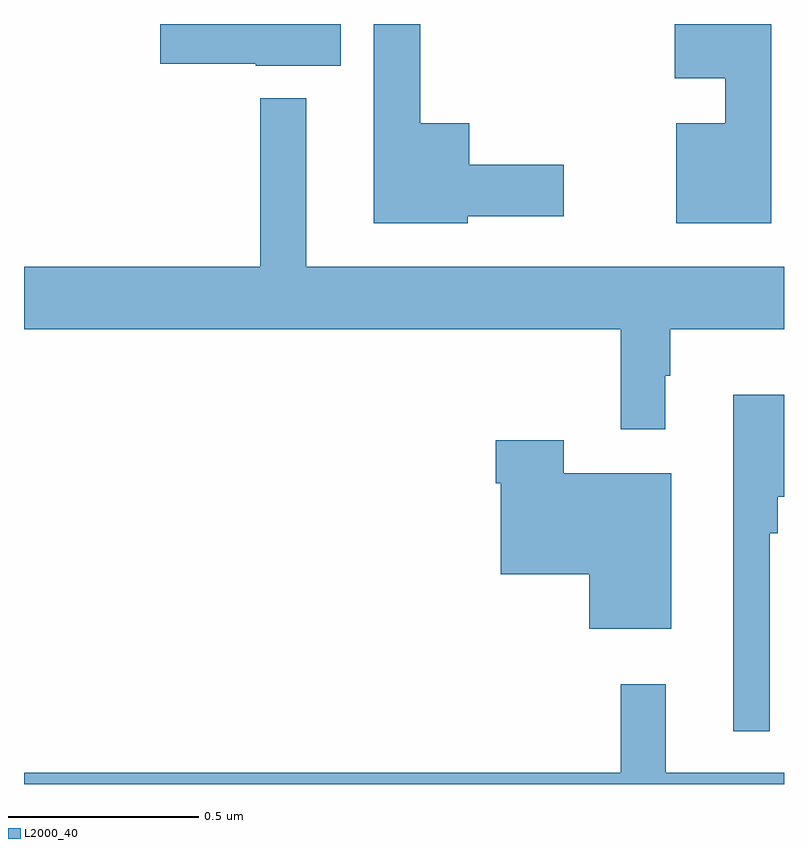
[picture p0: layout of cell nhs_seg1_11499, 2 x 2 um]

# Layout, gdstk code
import gdstk
lib = gdstk.Library(unit=1e-6, precision=1e-09)
def P(c, l, *ps):  # polygons
    for p in ps: c.add(gdstk.Polygon(p, *l))
L2000_40 = (2000, 40)

nhs_seg1_11499 = lib.new_cell('nhs_seg1_11499')
P(nhs_seg1_11499, L2000_40, [(254.833,555.199),(254.358,555.199),(254.358,555.095),(254.61,555.095),(254.61,555.089),(254.833,555.089)],
  [(255.967,555.199),(255.713,555.199),(255.713,555.056),(255.846,555.056),(255.846,554.938),(255.716,554.938),(255.716,554.675),(255.967,554.675)],
  [(255.168,554.693),(255.421,554.693),(255.421,554.828),(255.172,554.828),(255.172,554.938),(255.043,554.938),(255.043,555.199),(254.921,555.199),(254.921,554.675),(255.168,554.675)],
  [(255.688,554.273),(255.7,554.273),(255.7,554.396),(256,554.396),(256,554.56),(254.743,554.56),(254.743,555.004),(254.622,555.004),(254.622,554.56),(254,554.56),(254,554.396),(255.571,554.396),(255.571,554.133),(255.688,554.133)],
  [(255.963,553.859),(255.983,553.859),(255.983,553.955),(256,553.955),(256,554.224),(255.866,554.224),(255.866,553.338),(255.963,553.338)],
  [(255.703,554.017),(255.42,554.017),(255.42,554.104),(255.242,554.104),(255.242,553.991),(255.254,553.991),(255.254,553.751),(255.488,553.751),(255.488,553.607),(255.703,553.607)],
  [(256,553.228),(255.689,553.228),(255.689,553.462),(255.571,553.462),(255.571,553.228),(254,553.228),(254,553.199),(256,553.199)])

lib.write_gds('nhs_seg1_11499.gds')
